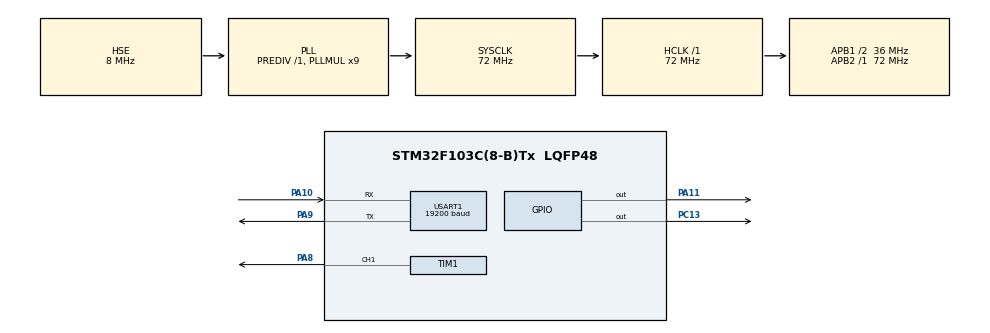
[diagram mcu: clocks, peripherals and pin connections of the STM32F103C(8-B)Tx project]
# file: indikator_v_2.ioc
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Dma.Request0=TIM1_CH1
Dma.TIM1_CH1.0.Direction=DMA_MEMORY_TO_PERIPH
Dma.TIM1_CH1.0.Instance=DMA1_Channel2
Dma.TIM1_CH1.0.MemDataAlignment=DMA_MDATAALIGN_HALFWORD
Dma.TIM1_CH1.0.MemInc=DMA_MINC_ENABLE
Dma.TIM1_CH1.0.Mode=DMA_NORMAL
Dma.TIM1_CH1.0.PeriphDataAlignment=DMA_PDATAALIGN_HALFWORD
Dma.TIM1_CH1.0.PeriphInc=DMA_PINC_DISABLE
Dma.TIM1_CH1.0.Priority=DMA_PRIORITY_LOW
Mcu.Family=STM32F1
Mcu.Name=STM32F103C(8-B)Tx
Mcu.Package=LQFP48
NVIC.DMA1_Channel2_IRQn=true\:0\:0\:false\:false\:true\:false\:true
NVIC.PriorityGroup=NVIC_PRIORITYGROUP_4
NVIC.TIM2_IRQn=true\:0\:0\:false\:false\:true\:true\:true
NVIC.USART1_IRQn=true\:0\:0\:false\:false\:true\:true\:true
PA10.Mode=Asynchronous
PA10.Signal=USART1_RX
PA11.Signal=GPIO_Output
PA13.Mode=Serial_Wire
PA13.Signal=SYS_JTMS-SWDIO
PA14.Mode=Serial_Wire
PA14.Signal=SYS_JTCK-SWCLK
PA8.GPIO_Speed=GPIO_SPEED_FREQ_HIGH
PA8.Signal=S_TIM1_CH1
PA9.Mode=Asynchronous
PA9.Signal=USART1_TX
PC13-TAMPER-RTC.Signal=GPIO_Output
PD0-OSC_IN.Mode=HSE-External-Oscillator
PD0-OSC_IN.Signal=RCC_OSC_IN
PD1-OSC_OUT.Mode=HSE-External-Oscillator
PD1-OSC_OUT.Signal=RCC_OSC_OUT
ProjectManager.HeapSize=0x200
ProjectManager.StackSize=0x400
ProjectManager.TargetToolchain=MDK-ARM V5.32
RCC.AHBFreq_Value=72000000
RCC.APB1CLKDivider=RCC_HCLK_DIV2
RCC.APB1Freq_Value=36000000
RCC.APB1TimFreq_Value=72000000
RCC.APB2Freq_Value=72000000
RCC.APB2TimFreq_Value=72000000
RCC.HCLKFreq_Value=72000000
RCC.PLLMUL=RCC_PLL_MUL9
RCC.PLLSourceVirtual=RCC_PLLSOURCE_HSE
RCC.SYSCLKFreq_VALUE=72000000
RCC.SYSCLKSource=RCC_SYSCLKSOURCE_PLLCLK
RCC.USBFreq_Value=72000000
SH.S_TIM1_CH1.0=TIM1_CH1,PWM Generation1 CH1
TIM1.Channel-PWM\ Generation1\ CH1=TIM_CHANNEL_1
TIM1.Period=89
TIM2.Period=9999
TIM2.Prescaler=719
USART1.BaudRate=19200
USART1.VirtualMode=VM_ASYNC
VP_TIM1_VS_ClockSourceINT.Mode=Internal
VP_TIM2_VS_ClockSourceINT.Mode=Internal
board=custom

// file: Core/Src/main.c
/* USER CODE BEGIN Header */
/**
  ******************************************************************************
  * @file           : main.c
  * @brief          : Main program body
  ******************************************************************************
  * @attention
  *
  * Copyright (c) 2022 STMicroelectronics.
  * All rights reserved.
  *
  * This software is licensed under terms that can be found in the LICENSE file
  * in the root directory of this software component.
  * If no LICENSE file comes with this software, it is provided AS-IS.

  *
  ******************************************************************************
  */
/* USER CODE END Header */
#include "main.h"
#include "dma.h"
#include "tim.h"
#include "usart.h"
#include "gpio.h"

/* USER CODE BEGIN Includes */
#include <string.h>
#include <stdlib.h>
#include <stdint.h>
#include "ws2812b.h"
#include "modbus.h"
/* USER CODE END Includes */

/* USER CODE BEGIN PV */
extern uint16_t BUF_DMA[ARRAY_LEN];
extern uint8_t transmitBuffer[8];
extern uint8_t receiveBuffer[20];
uint8_t recevieByte;
uint8_t bufferSize = 0;
uint8_t frame_delay = 0;
/* USER CODE END PV */

void SystemClock_Config(void);

int main(void)
{

  /* MCU Configuration--------------------------------------------------------*/

  /* Reset of all peripherals, Initializes the Flash interface and the Systick. */
  HAL_Init();

  /* Configure the system clock */
  SystemClock_Config();

  /* Initialize all configured peripherals */
  MX_GPIO_Init();
  MX_DMA_Init();
  MX_TIM1_Init();
  MX_USART1_UART_Init();
  MX_TIM2_Init();
  /* USER CODE BEGIN 2 */
	HAL_GPIO_WritePin(GPIOA, GPIO_PIN_11, GPIO_PIN_RESET);
	HAL_GPIO_WritePin(GPIOC, GPIO_PIN_13, GPIO_PIN_RESET);

	ws2812_init();
	ws2812_use_template(1, 128, 0, 0);
	HAL_Delay(500);
	ws2812_clear();

	HAL_UART_AbortReceive_IT(&huart1);
	HAL_UART_Receive_IT(&huart1, &recevieByte, 1);
	HAL_TIM_Base_Start_IT(&htim2);
	//HAL_TIM_Base_Start_IT(&htim2);
  /* USER CODE END 2 */

  /* Infinite loop */
  /* USER CODE BEGIN WHILE */
  while (1)
  {
		if(frame_delay == 4){
			HAL_GPIO_TogglePin(GPIOC, GPIO_PIN_13);
			ws2812_update_frame();
			frame_delay = 0;
		}
		else{
			frame_delay++;
		}
		HAL_Delay(100);
    /* USER CODE END WHILE */

  }
}

void SystemClock_Config(void)
{
  RCC_OscInitTypeDef RCC_OscInitStruct = {0};
  RCC_ClkInitTypeDef RCC_ClkInitStruct = {0};

  /** Initializes the RCC Oscillators according to the specified parameters
  * in the RCC_OscInitTypeDef structure.
  */
  RCC_OscInitStruct.OscillatorType = RCC_OSCILLATORTYPE_HSE;
  RCC_OscInitStruct.HSEState = RCC_HSE_ON;
  RCC_OscInitStruct.HSEPredivValue = RCC_HSE_PREDIV_DIV1;
  RCC_OscInitStruct.HSIState = RCC_HSI_ON;
  RCC_OscInitStruct.PLL.PLLState = RCC_PLL_ON;
  RCC_OscInitStruct.PLL.PLLSource = RCC_PLLSOURCE_HSE;
  RCC_OscInitStruct.PLL.PLLMUL = RCC_PLL_MUL9;
  if (HAL_RCC_OscConfig(&RCC_OscInitStruct) != HAL_OK)
  {
    Error_Handler();
  }
  /** Initializes the CPU, AHB and APB buses clocks
  */
  RCC_ClkInitStruct.ClockType = RCC_CLOCKTYPE_HCLK|RCC_CLOCKTYPE_SYSCLK
                              |RCC_CLOCKTYPE_PCLK1|RCC_CLOCKTYPE_PCLK2;
  RCC_ClkInitStruct.SYSCLKSource = RCC_SYSCLKSOURCE_PLLCLK;
  RCC_ClkInitStruct.AHBCLKDivider = RCC_SYSCLK_DIV1;
  RCC_ClkInitStruct.APB1CLKDivider = RCC_HCLK_DIV2;
  RCC_ClkInitStruct.APB2CLKDivider = RCC_HCLK_DIV1;

  if (HAL_RCC_ClockConfig(&RCC_ClkInitStruct, FLASH_LATENCY_2) != HAL_OK)
  {
    Error_Handler();
  }
}

/* USER CODE BEGIN 4 */
//----------------------------------------------------------------------------
void HAL_UART_RxCpltCallback(UART_HandleTypeDef *huart)
{
  if(huart == &huart1)
	{
		receiveBuffer[bufferSize] = recevieByte;
		bufferSize++;
		HAL_UART_Receive_IT(&huart1, &recevieByte, 1);
		TIM2->CNT = 0;
	}
}
//----------------------------------------------------------------------------
void HAL_TIM_PWM_PulseFinishedCallback(TIM_HandleTypeDef *htim)
{
	HAL_TIM_PWM_Stop_DMA(&htim1, TIM_CHANNEL_1);
}
//----------------------------------------------------------------------------
void HAL_TIM_PeriodElapsedCallback(TIM_HandleTypeDef *htim)
{
	if(htim->Instance == TIM2){
		if(bufferSize > 0){
			if(receiveBuffer[0] != Slave_ID){
				bufferSize = 0;
				HAL_UART_Receive_IT(&huart1, &recevieByte, 1);
				HAL_TIM_Base_Start_IT(&htim2);
			}
			else{
				ModBus_data(receiveBuffer, bufferSize);
				HAL_GPIO_WritePin(GPIOA, GPIO_PIN_11, GPIO_PIN_SET);
				HAL_UART_Transmit(&huart1, transmitBuffer, 8, 1000);
				HAL_GPIO_WritePin(GPIOA, GPIO_PIN_11, GPIO_PIN_RESET);
				bufferSize = 0;
				HAL_UART_Receive_IT(&huart1, &recevieByte, 1);
				HAL_TIM_Base_Start_IT(&htim2);
			}
		}
		else{
			HAL_UART_Receive_IT(&huart1, &recevieByte, 1);
			HAL_TIM_Base_Start_IT(&htim2);
		}
	}
}
/* USER CODE END 4 */

void Error_Handler(void)
{
  __disable_irq();
  while (1)
  {
  }
}
